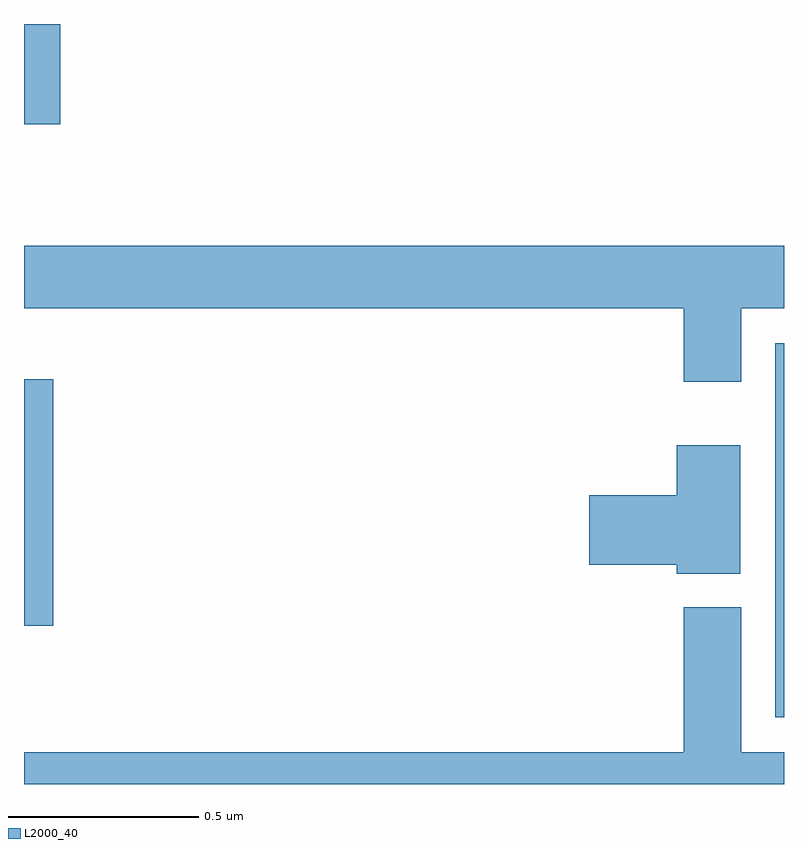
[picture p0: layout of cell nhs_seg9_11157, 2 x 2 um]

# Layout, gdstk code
import gdstk
lib = gdstk.Library(unit=1e-6, precision=1e-09)
def R(c, l, rs):  # rectangles x0, y0, x1, y1
    for r in rs: c.add(gdstk.rectangle(r[:2], r[2:], *l))
def P(c, l, *ps):  # polygons
    for p in ps: c.add(gdstk.Polygon(p, *l))
L2000_40 = (2000, 40)

nhs_seg9_11157 = lib.new_cell('nhs_seg9_11157')
R(nhs_seg9_11157, L2000_40, [(253.977,1196.676,254,1197.66), (252,1196.916,252.077,1197.565), (252,1198.236,252.095,1198.5)])
P(nhs_seg9_11157, L2000_40, [(253.888,1197.752),(254,1197.752),(254,1197.916),(252,1197.916),(252,1197.752),(253.736,1197.752),(253.736,1197.558),(253.888,1197.558)],
  [(253.885,1197.391),(253.718,1197.391),(253.718,1197.26),(253.488,1197.26),(253.488,1197.077),(253.718,1197.077),(253.718,1197.053),(253.885,1197.053)],
  [(254,1196.584),(253.888,1196.584),(253.888,1196.965),(253.736,1196.965),(253.736,1196.584),(252,1196.584),(252,1196.5),(254,1196.5)])

lib.write_gds('nhs_seg9_11157.gds')
